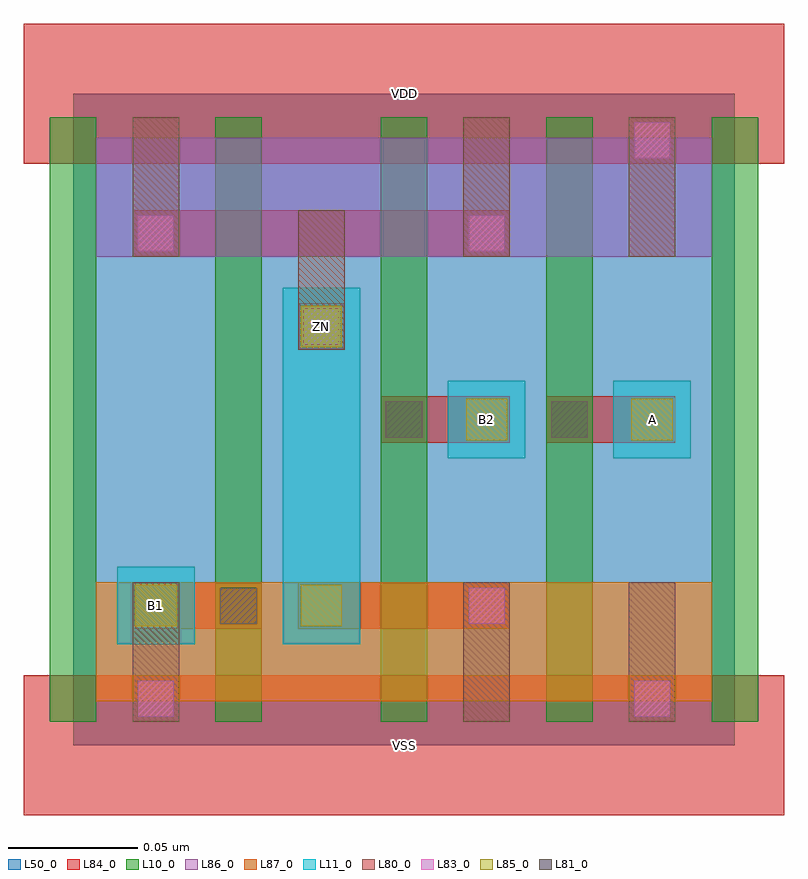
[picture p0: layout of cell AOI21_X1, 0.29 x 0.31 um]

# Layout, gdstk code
import gdstk
lib = gdstk.Library(unit=1e-6, precision=1e-09)
def R(c, l, rs):  # rectangles x0, y0, x1, y1
    for r in rs: c.add(gdstk.rectangle(r[:2], r[2:], *l))
def A(c, l, x, y, w, h, nx, ny, dx, dy):  # array of equal rectangles
    R(c, l, [(x+i*dx, y+j*dy, x+i*dx+w, y+j*dy+h) for i in range(nx) for j in range(ny)])
L10_0 = (10, 0)
L11_0 = (11, 0)
L50_0 = (50, 0)
L80_0 = (80, 0)
L81_0 = (81, 0)
L83_0 = (83, 0)
L84_0 = (84, 0)
L85_0 = (85, 0)
L86_0 = (86, 0)
L87_0 = (87, 0)

aoi21_x1 = lib.new_cell('AOI21_X1')
A(aoi21_x1, L10_0, -0.009, 0.009, 0.018, 0.234, 5, 1, 0.064, 0)
R(aoi21_x1, L11_0, [(0.017,0.039,0.047,0.069), (0.081,0.039,0.111,0.177), (0.145,0.111,0.175,0.141), (0.209,0.111,0.239,0.141)])
R(aoi21_x1, L50_0, [(0,0,0.256,0.252)])
R(aoi21_x1, L80_0, [(0.023,0.009,0.041,0.063), (0.151,0.009,0.169,0.063), (0.215,0.009,0.233,0.063), (0.087,0.153,0.105,0.207), (0.023,0.189,0.041,0.243), (0.151,0.189,0.169,0.243), (0.215,0.189,0.233,0.243)])
R(aoi21_x1, L81_0, [(0.057,0.047,0.071,0.061), (0.121,0.119,0.135,0.133), (0.185,0.119,0.199,0.133)])
R(aoi21_x1, L83_0, [(0.025,0.011,0.039,0.025), (0.217,0.011,0.231,0.025), (0.153,0.047,0.167,0.061), (0.089,0.155,0.103,0.169), (0.025,0.191,0.039,0.205), (0.153,0.191,0.167,0.205), (0.217,0.227,0.231,0.241)])
R(aoi21_x1, L84_0, [(-0.019,-0.027,0.275,0.027), (0.023,0.045,0.073,0.063), (0.087,0.045,0.169,0.063), (0.119,0.117,0.169,0.135), (0.183,0.117,0.233,0.135), (0.087,0.153,0.105,0.171), (0.023,0.189,0.169,0.207), (-0.019,0.225,0.275,0.279)])
R(aoi21_x1, L85_0, [(0.024,0.046,0.04,0.062), (0.088,0.046,0.104,0.062), (0.152,0.118,0.168,0.134), (0.216,0.118,0.232,0.134), (0.088,0.154,0.104,0.17)])
R(aoi21_x1, L86_0, [(0.009,0.189,0.247,0.235)])
R(aoi21_x1, L87_0, [(0.009,0.017,0.247,0.063)])
aoi21_x1.add(gdstk.Label('VDD', (0.128,0.252), layer=88, texttype=0))
aoi21_x1.add(gdstk.Label('VSS', (0.128,0), layer=88, texttype=0))
aoi21_x1.add(gdstk.Label('ZN', (0.096,0.162), layer=31, texttype=0))
aoi21_x1.add(gdstk.Label('A', (0.224,0.126), layer=31, texttype=0))
aoi21_x1.add(gdstk.Label('B1', (0.032,0.054), layer=31, texttype=0))
aoi21_x1.add(gdstk.Label('B2', (0.16,0.126), layer=31, texttype=0))

lib.write_gds('AOI21_X1.gds')
